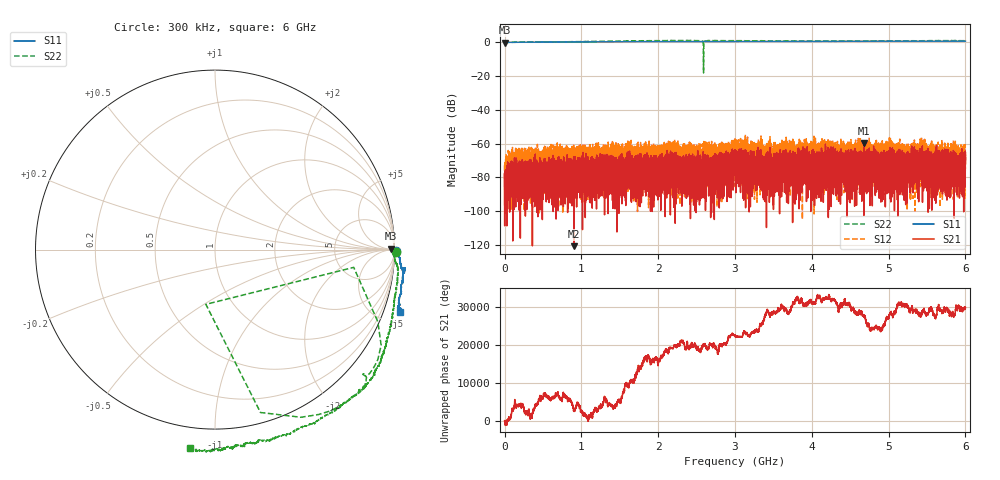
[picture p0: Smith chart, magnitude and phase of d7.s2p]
!Agilent Technologies,N5230C,SG49000117,A.08.50.07
!Agilent N5230C: A.08.50.07
!Date: Friday, May 17, 2024 03:39:01
!Correction: S11(Full 2 Port(1,2))
!S21(Full 2 Port(1,2))
!S12(Full 2 Port(1,2))
!S22(Full 2 Port(1,2))
!S2P File: Measurements: S11, S21, S12, S22:
# Hz S  MA  R 50
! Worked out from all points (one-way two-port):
!   20001 points, 300 kHz to 6 GHz, reference 50 ohm
!   highest |S21| = -59.85 dB at 4.682 GHz (marker M1); lowest = -120.7 dB at 902.4 MHz (marker M2)
!   lowest |S11| = -0.2 dB at 600 kHz (marker M3), VSWR 111.80, Z = 5.11e+03 + j1.57e+03 ohm
!   |S11| at or under -10 dB: nowhere
!   |S22| runs from -18.1 to 1.1 dB; largest |S21 - S12| = 0.0019
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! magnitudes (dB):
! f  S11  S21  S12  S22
! 300 kHz  0.1  -77.7  -80.6  0.1
! 600 kHz  -0.2  -88.2  -72.0  -0.3
! 84.9 MHz  0.0  -75.6  -68.7  0.0
! 164.4 MHz  0.0  -75.1  -74.8  0.1
! 902.4 MHz  0.2  -120.7  -77.3  0.4
! 1 GHz  0.3  -84.4  -63.8  0.4
! 2 GHz  0.5  -85.4  -72.4  1.0
! 2.191 GHz  0.5  -70.2  -68.2  1.1
! 2.29 GHz  0.5  -67.8  -77.3  1.1
! 2.566 GHz  0.5  -80.3  -69.1  0.9
! 2.621 GHz  0.5  -73.4  -71.3  0.7
! 2.69 GHz  0.5  -72.1  -69.4  1.0
! 3 GHz  0.5  -69.6  -68.6  1.0
! 3.38 GHz  0.5  -73.2  -67.5  0.9
! 4 GHz  0.5  -83.5  -63.5  0.9
! 4.682 GHz  0.6  -59.9  -73.7  0.9
! 5 GHz  0.7  -72.0  -67.5  0.9
! 5.259 GHz  0.7  -80.7  -72.2  1.0
! 5.442 GHz  0.7  -66.6  -65.7  1.0
! 5.594 GHz  0.7  -76.2  -68.1  1.0
! 5.852 GHz  0.7  -70.7  -74.5  1.0
! 6 GHz  0.7  -69.4  -75.0  0.9
